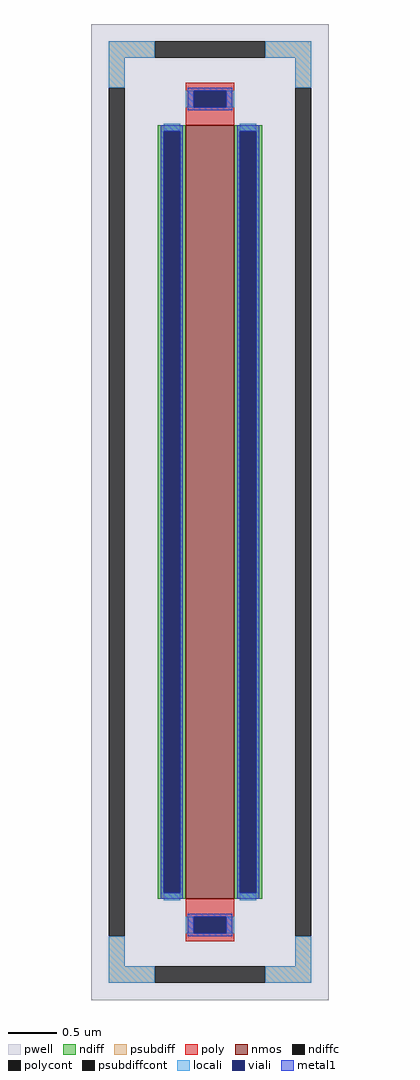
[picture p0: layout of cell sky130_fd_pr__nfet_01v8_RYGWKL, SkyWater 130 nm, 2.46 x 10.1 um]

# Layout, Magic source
magic
tech sky130A
<< pwell >>
rect -123 -505 123 505
<< nmos >>
rect -25 -400 25 400
<< ndiff >>
rect -54 394 -25 400
rect -54 -394 -48 394
rect -31 -394 -25 394
rect -54 -400 -25 -394
rect 25 394 54 400
rect 25 -394 31 394
rect 48 -394 54 394
rect 25 -400 54 -394
<< ndiffc >>
rect -48 -394 -31 394
rect 31 -394 48 394
<< psubdiff >>
rect -105 470 -57 487
rect 57 470 105 487
rect -105 439 -88 470
rect 88 439 105 470
rect -105 -470 -88 -439
rect 88 -470 105 -439
rect -105 -487 -57 -470
rect 57 -487 105 -470
<< psubdiffcont >>
rect -57 470 57 487
rect -105 -439 -88 439
rect 88 -439 105 439
rect -57 -487 57 -470
<< poly >>
rect -25 436 25 444
rect -25 419 -17 436
rect 17 419 25 436
rect -25 400 25 419
rect -25 -419 25 -400
rect -25 -436 -17 -419
rect 17 -436 25 -419
rect -25 -444 25 -436
<< polycont >>
rect -17 419 17 436
rect -17 -436 17 -419
<< locali >>
rect -105 470 -57 487
rect 57 470 105 487
rect -105 439 -88 470
rect 88 439 105 470
rect -25 419 -17 436
rect 17 419 25 436
rect -48 394 -31 402
rect -48 -402 -31 -394
rect 31 394 48 402
rect 31 -402 48 -394
rect -25 -436 -17 -419
rect 17 -436 25 -419
rect -105 -470 -88 -439
rect 88 -470 105 -439
rect -105 -487 -57 -470
rect 57 -487 105 -470
<< viali >>
rect -17 419 17 436
rect -48 -394 -31 394
rect 31 -394 48 394
rect -17 -436 17 -419
<< metal1 >>
rect -23 436 23 439
rect -23 419 -17 436
rect 17 419 23 436
rect -23 416 23 419
rect -51 394 -28 400
rect -51 -394 -48 394
rect -31 -394 -28 394
rect -51 -400 -28 -394
rect 28 394 51 400
rect 28 -394 31 394
rect 48 -394 51 394
rect 28 -400 51 -394
rect -23 -419 23 -416
rect -23 -436 -17 -419
rect 17 -436 23 -419
rect -23 -439 23 -436
<< properties >>
string FIXED_BBOX -96 -478 96 478
string gencell sky130_fd_pr__nfet_01v8
string library sky130
string parameters w 8.0 l 0.5 m 1 nf 1 diffcov 100 polycov 100 guard 1 glc 1 grc 1 gtc 1 gbc 1 tbcov 100 rlcov 100 topc 1 botc 1 poverlap 0 doverlap 1 lmin 0.15 wmin 0.42 compatible {sky130_fd_pr__nfet_01v8 sky130_fd_pr__nfet_01v8_lvt  sky130_fd_bs_flash__special_sonosfet_star  sky130_fd_pr__nfet_g5v0d10v5 sky130_fd_pr__nfet_05v0_nvt  sky130_fd_pr__nfet_03v3_nvt} full_metal 1 viasrc 100 viadrn 100 viagate 100 viagb 0 viagr 0 viagl 0 viagt 0
<< end >>
